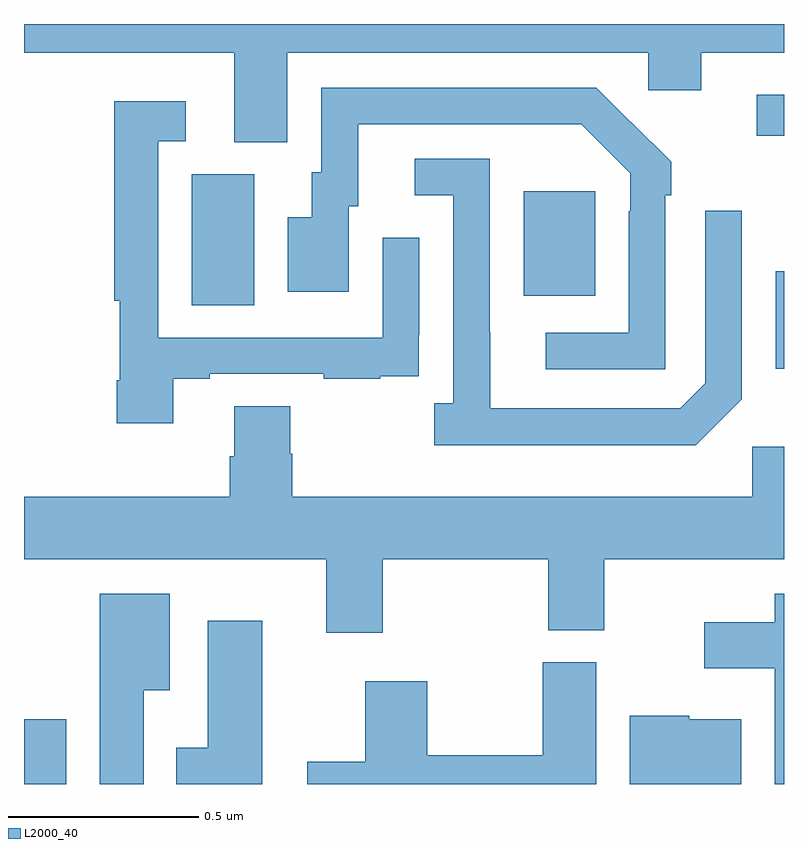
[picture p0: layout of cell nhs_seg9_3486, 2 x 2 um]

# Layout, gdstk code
import gdstk
lib = gdstk.Library(unit=1e-6, precision=1e-09)
def R(c, l, rs):  # rectangles x0, y0, x1, y1
    for r in rs: c.add(gdstk.rectangle(r[:2], r[2:], *l))
def P(c, l, *ps):  # polygons
    for p in ps: c.add(gdstk.Polygon(p, *l))
L2000_40 = (2000, 40)

nhs_seg9_3486 = lib.new_cell('nhs_seg9_3486')
R(nhs_seg9_3486, L2000_40, [(154,1190.5,154.111,1190.671), (155.978,1191.593,156,1191.85), (154.442,1191.76,154.606,1192.104), (155.315,1191.785,155.503,1192.06), (155.928,1192.206,156,1192.314)])
P(nhs_seg9_3486, L2000_40, [(154.693,1192.424),(155.643,1192.424),(155.643,1192.326),(155.782,1192.326),(155.782,1192.424),(156,1192.424),(156,1192.5),(154,1192.5),(154,1192.424),(154.553,1192.424),(154.553,1192.189),(154.693,1192.189)],
  [(155.688,1192.049),(155.703,1192.049),(155.703,1192.137),(155.598,1192.242),(155.597,1192.241),(155.506,1192.332),(154.782,1192.332),(154.782,1192.11),(154.757,1192.11),(154.757,1191.991),(154.694,1191.991),(154.694,1191.795),(154.855,1191.795),(154.855,1192.02),(154.879,1192.02),(154.879,1192.236),(155.467,1192.236),(155.595,1192.107),(155.595,1192.007),(155.592,1192.007),(155.592,1191.687),(155.373,1191.687),(155.373,1191.591),(155.688,1191.591)],
  [(154.393,1191.567),(154.489,1191.567),(154.489,1191.579),(154.789,1191.579),(154.789,1191.567),(154.937,1191.567),(154.937,1191.573),(155.039,1191.573),(155.039,1191.682),(155.04,1191.682),(155.04,1191.937),(154.944,1191.937),(154.944,1191.675),(154.353,1191.675),(154.353,1192.191),(154.426,1192.191),(154.426,1192.297),(154.237,1192.297),(154.237,1191.772),(154.252,1191.772),(154.252,1191.562),(154.244,1191.562),(154.244,1191.45),(154.393,1191.45)],
  [(155.889,1191.513),(155.889,1192.009),(155.793,1192.009),(155.793,1191.555),(155.727,1191.489),(155.227,1191.489),(155.227,1191.689),(155.226,1191.689),(155.226,1192.146),(155.028,1192.146),(155.028,1192.05),(155.13,1192.05),(155.13,1191.502),(155.079,1191.502),(155.079,1191.392),(155.768,1191.392)],
  [(154.944,1191.092),(155.38,1191.092),(155.38,1190.905),(155.527,1190.905),(155.527,1191.092),(156,1191.092),(156,1191.388),(155.916,1191.388),(155.916,1191.256),(154.706,1191.256),(154.706,1191.369),(154.701,1191.369),(154.701,1191.494),(154.553,1191.494),(154.553,1191.362),(154.541,1191.362),(154.541,1191.256),(154,1191.256),(154,1191.092),(154.796,1191.092),(154.796,1190.898),(154.944,1190.898)],
  [(154.315,1190.747),(154.384,1190.747),(154.384,1191.001),(154.199,1191.001),(154.199,1190.5),(154.315,1190.5)],
  [(156,1191.001),(155.975,1191.001),(155.975,1190.926),(155.79,1190.926),(155.79,1190.804),(155.975,1190.804),(155.975,1190.5),(156,1190.5)],
  [(154.627,1190.929),(154.484,1190.929),(154.484,1190.596),(154.4,1190.596),(154.4,1190.5),(154.627,1190.5)],
  [(155.506,1190.82),(155.365,1190.82),(155.365,1190.576),(155.061,1190.576),(155.061,1190.77),(154.898,1190.77),(154.898,1190.559),(154.746,1190.559),(154.746,1190.5),(155.506,1190.5)],
  [(155.887,1190.671),(155.751,1190.671),(155.751,1190.68),(155.594,1190.68),(155.594,1190.5),(155.887,1190.5)])

lib.write_gds('nhs_seg9_3486.gds')
